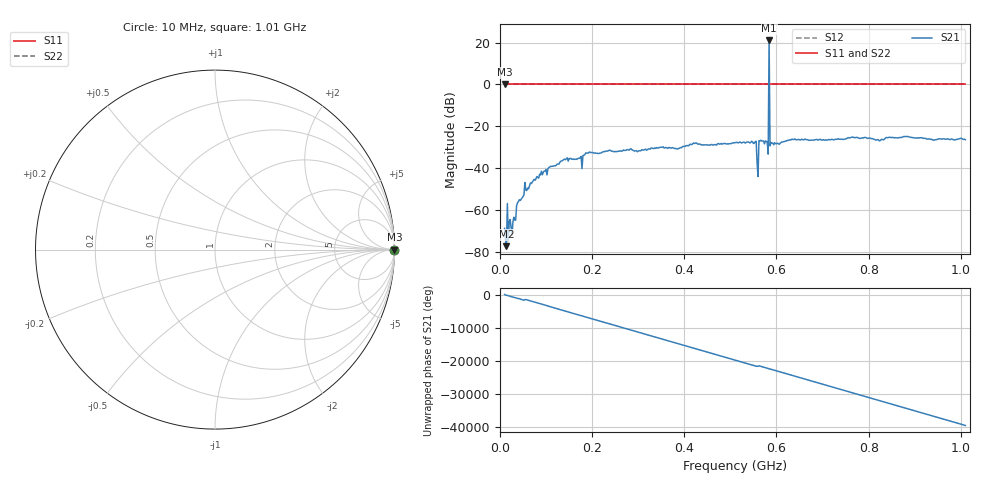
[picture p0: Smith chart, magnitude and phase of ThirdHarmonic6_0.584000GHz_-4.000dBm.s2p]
! 8/15/2025 6:53:08 PM
! C:\ANRITSUVNA\TEMP\TEMP.S2P
! CHANNEL.1
! TR.MEASUREMENT
! RAW.DATA
! RF.CORRECTION.OFF
! AVERAGING.OFF
! IF.BANDWIDTH: 5KHZ
! SWEEPTYPE:  FREQ.SWEEP(Linear)
! Reference Plane Port Info
! PORT:  PORT1  PORT2
! DISTANCE:  0  m  0  m
! TIME:  0  s  0  s
! PHASE.OFFSET:  0  deg.  0  deg.
! LOSS:  0  dB  0  dB
! REF.LOSS:  0  dB  0  dB
! REF.FREQ:  0  Hz  0  Hz
! Power Info
! POWER:  -20  dBm  -20  dBm
! EFF.POWER:  -20  dBm  -20  dBm
! SOURCE.ATTEN:  0  dB  0  dB
! TEST.ATTEN:  0  dB  0  dB
# GHZ S RI R 50.0
! FREQ.GHZ  S11RE  S11IM  S21RE  S21IM  S12RE  S12IM  S22RE  S22IM
!; PortSelection: Port_12
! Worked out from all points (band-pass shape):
!   501 points, 10 MHz to 1.01 GHz, reference 50 ohm
!   highest |S21| = 21.00 dB at 584 MHz (marker M1); lowest = -77.3 dB at 14 MHz (marker M2)
!   |S21| within 3 dB of the highest: 583.8895 MHz to 584.1191 MHz (229.6 kHz wide, 0.0393 % of centre)
!   lowest |S11| = 0.0 dB at 10 MHz (marker M3)
!   |S11| at or under -10 dB: nowhere
!   |S22| runs from 0.0 to 0.0 dB; largest |S21 - S12| = 10
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0.01  1 0  -0.000365 1.1e-05  1 0  1 0
0.014  1 0  0.000127 -5.01e-05  1 0  1 0
0.02  1 0  -0.000136 0.000508  1 0  1 0
0.03  1 0  0.00038 0.000553  1 0  1 0
0.04  1 0  0.00131 0.000905  1 0  1 0
0.07  1 0  -0.00138 -0.0044  1 0  1 0
0.142  1 0  -0.0149 -0.00566  1 0  1 0
0.178  1 0  -0.00775 -0.00592  1 0  1 0
0.344  1 0  0.0288 -0.00891  1 0  1 0
0.51  1 0  -0.0357 0.0191  1 0  1 0
0.552  1 0  -0.00297 -0.0394  1 0  1 0
0.556  1 0  -0.00688 0.0432  1 0  1 0
0.562  1 0  -0.0322 -0.032  1 0  1 0
0.566  1 0  0.0218 0.041  1 0  1 0
0.578  1 0  0.0171 -0.0399  1 0  1 0
0.58  1 0  -0.0346 -0.0228  1 0  1 0
0.584  1 0  9.694 5.651  1 0  1 0
0.588  1 0  -0.0111 -0.0395  1 0  1 0
0.59  1 0  -0.0395 0.00567  1 0  1 0
0.678  1 0  -0.0277 -0.0373  1 0  1 0
0.844  1 0  0.0457 0.0294  1 0  1 0
1.01  1 0  -0.0475 -0.00108  1 0  1 0
